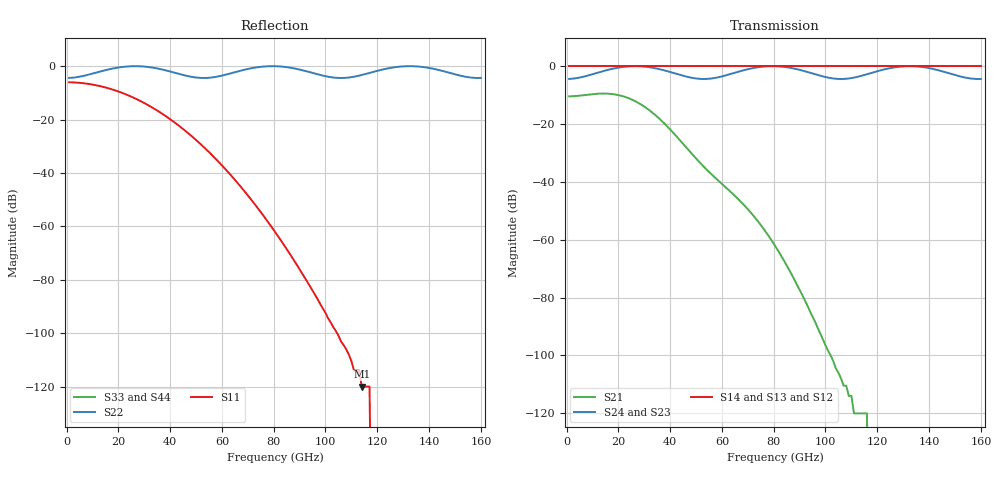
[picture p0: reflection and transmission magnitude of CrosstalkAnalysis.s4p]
! File created by SignalIntegrity v1.5.1: Signal and Power Integrity Tools
! https://github.com/Nubis-Communications/SignalIntegrity
# MHz S MA R 50.0
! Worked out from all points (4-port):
!   160 points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, 1 GHz to 160 GHz, reference 50 ohm
!   strongest paths, dB at 1 GHz, 41 GHz, 81 GHz, 121 GHz, 160 GHz:
!     S14: 0.0, 0.0, 0.0, 0.0, 0.0
!     S13: 0.0, 0.0, 0.0, 0.0, 0.0
!     S12: 0.0, 0.0, 0.0, 0.0, 0.0
!     S24: -4.4, -2.3, 0.0, -1.5, -4.4
!     S23: -4.4, -2.3, 0.0, -1.5, -4.4
!     S21: -10.4, -22.8, -62.8, -, -
!   lowest |S11| = -120.0 dB at 114 GHz (marker M1), VSWR 1.00, Z = 50 + j0 ohm
!   |S11| at or under -10 dB: 21.45 GHz to end of sweep
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1000  0.4995 0.0  1 0.0  1 0.0  1 0.0
      0.3004 0.0  0.6014 0.0  0.6014 0.0  0.6014 0.0
      0 0.0  0 0.0  0 0.0  0 0.0
      0 0.0  0 0.0  0 0.0  0 0.0
30000  0.2042 0.0  1 0.0  1 0.0  1 0.0
       0.2007 0.0  0.983 0.0  0.983 0.0  0.983 0.0
       0 0.0  0 0.0  0 0.0  0 0.0
       0 0.0  0 0.0  0 0.0  0 0.0
61000  0.01232 0.0  1 0.0  1 0.0  1 0.0
       0.00842 0.0  0.6834 0.0  0.6834 0.0  0.6834 0.0
       0 0.0  0 0.0  0 0.0  0 0.0
       0 0.0  0 0.0  0 0.0  0 0.0
92000  0.00011 -0.0  1 0.0  1 0.0  1 0.0
       9e-05 -0.0  0.8177 0.0  0.8177 0.0  0.8177 0.0
       0 0.0  0 0.0  0 0.0  0 0.0
       0 0.0  0 0.0  0 0.0  0 0.0
114000  1e-06 -0.0  1 0.0  1 0.0  1 0.0
        1e-06 -0.0  0.6834 0.0  0.6834 0.0  0.6834 0.0
        0 0.0  0 0.0  0 0.0  0 0.0
        0 0.0  0 0.0  0 0.0  0 0.0
133000  0 -0.0  1 0.0  1 0.0  1 0.0
        0 -0.0  0.9996 0.0  0.9996 0.0  0.9996 0.0
        0 0.0  0 0.0  0 0.0  0 0.0
        0 0.0  0 0.0  0 0.0  0 0.0
160000  0 0.0  1 0.0  1 0.0  1 0.0
        0 0.0  0.6014 0.0  0.6014 0.0  0.6014 0.0
        0 0.0  0 0.0  0 0.0  0 0.0
        0 0.0  0 0.0  0 0.0  0 0.0
